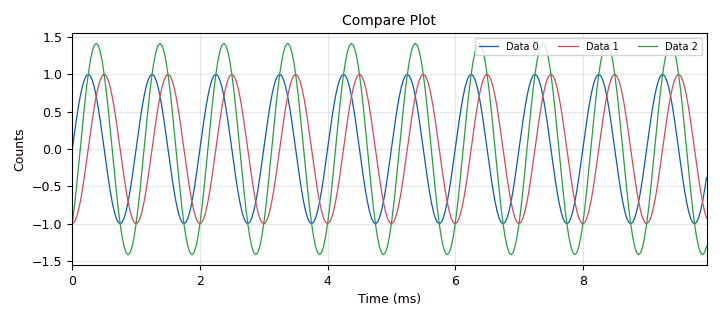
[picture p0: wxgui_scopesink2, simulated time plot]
<?xml version='1.0' encoding='utf-8'?>
<flow_graph>
<block>
<key>analog_sig_source_x</key>
<param><key>id</key><value>analog_sig_source_x_0</value></param>
<param><key>type</key><value>float</value></param>
<param><key>samp_rate</key><value>samp_rate</value></param>
<param><key>waveform</key><value>analog.GR_COS_WAVE</value></param>
<param><key>freq</key><value>1000</value></param>
<param><key>amp</key><value>1</value></param>
<param><key>offset</key><value>0</value></param>
</block>
<block>
<key>variable</key>
<param><key>id</key><value>samp_rate</value></param>
<param><key>value</key><value>32000</value></param>
</block>
<block>
<key>analog_sig_source_x</key>
<param><key>id</key><value>analog_sig_source_x_0_0</value></param>
<param><key>type</key><value>float</value></param>
<param><key>samp_rate</key><value>samp_rate</value></param>
<param><key>waveform</key><value>analog.GR_SIN_WAVE</value></param>
<param><key>freq</key><value>1000</value></param>
<param><key>amp</key><value>1</value></param>
<param><key>offset</key><value>0</value></param>
</block>
<block>
<key>blocks_add_xx</key>
<param><key>id</key><value>blocks_add_xx_0</value></param>
<param><key>type</key><value>float</value></param>
</block>
<block>
<key>blocks_throttle</key>
<param><key>id</key><value>blocks_throttle_0_0</value></param>
<param><key>type</key><value>float</value></param>
<param><key>samples_per_second</key><value>samp_rate</value></param>
</block>
<block>
<key>blocks_throttle</key>
<param><key>id</key><value>blocks_throttle_0</value></param>
<param><key>type</key><value>float</value></param>
<param><key>samples_per_second</key><value>samp_rate</value></param>
</block>
<block>
<key>wxgui_scopesink2</key>
<param><key>id</key><value>wxgui_scopesink2</value></param>
<param><key>type</key><value>float</value></param>
<param><key>title</key><value>Compare Plot</value></param>
<param><key>samp_rate</key><value>samp_rate</value></param>
<param><key>v_scale</key><value>1</value></param>
<param><key>v_offset</key><value>0</value></param>
<param><key>t_scale</key><value>0</value></param>
<param><key>ac_couple</key><value>False</value></param>
<param><key>xy_mode</key><value>False</value></param>
<param><key>num_inputs</key><value>3</value></param>
<param><key>trig_mode</key><value>wxgui.TRIG_MODE_AUTO</value></param>
<param><key>y_axis_label</key><value>Counts</value></param>
</block>
<block>
<key>variable_slider</key>
<param><key>id</key><value>delay</value></param>
<param><key>label</key><value>Delay Var</value></param>
<param><key>value</key><value>50</value></param>
<param><key>min</key><value>0</value></param>
<param><key>max</key><value>100</value></param>
<param><key>num_steps</key><value>100</value></param>
<param><key>style</key><value>wx.SL_HORIZONTAL</value></param>
<param><key>converver</key><value>int_converter</value></param>
</block>
<block>
<key>variable_slider</key>
<param><key>id</key><value>constant</value></param>
<param><key>label</key><value>Constant</value></param>
<param><key>value</key><value>-1</value></param>
<param><key>min</key><value>-2</value></param>
<param><key>max</key><value>2</value></param>
<param><key>num_steps</key><value>100</value></param>
<param><key>style</key><value>wx.SL_HORIZONTAL</value></param>
<param><key>converver</key><value>float_converter</value></param>
</block>
<block>
<key>options</key>
<param><key>id</key><value>Sample_32K_example</value></param>
<param><key>generate_options</key><value>wx_gui</value></param>
<param><key>category</key><value>Custom</value></param>
</block>
<connection><source_block_id>blocks_add_xx_0</source_block_id><sink_block_id>wxgui_scopesink2</sink_block_id><source_key>0</source_key><sink_key>2</sink_key></connection>
<connection><source_block_id>analog_sig_source_x_0</source_block_id><sink_block_id>blocks_throttle_0</sink_block_id><source_key>0</source_key><sink_key>0</sink_key></connection>
<connection><source_block_id>blocks_throttle_0</source_block_id><sink_block_id>wxgui_scopesink2</sink_block_id><source_key>0</source_key><sink_key>0</sink_key></connection>
<connection><source_block_id>blocks_throttle_0</source_block_id><sink_block_id>blocks_add_xx_0</sink_block_id><source_key>0</source_key><sink_key>0</sink_key></connection>
<connection><source_block_id>analog_sig_source_x_0_0</source_block_id><sink_block_id>blocks_throttle_0_0</sink_block_id><source_key>0</source_key><sink_key>0</sink_key></connection>
<connection><source_block_id>blocks_throttle_0_0</source_block_id><sink_block_id>wxgui_scopesink2</sink_block_id><source_key>0</source_key><sink_key>1</sink_key></connection>
<connection><source_block_id>blocks_throttle_0_0</source_block_id><sink_block_id>blocks_add_xx_0</sink_block_id><source_key>0</source_key><sink_key>1</sink_key></connection>
</flow_graph>
